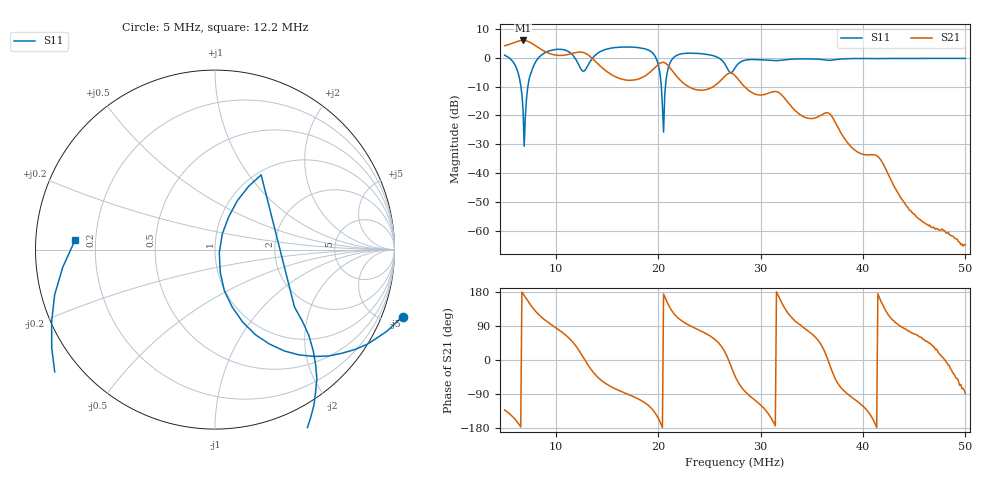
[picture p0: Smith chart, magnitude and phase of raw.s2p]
! S11/S21 only; reverse parameters are placeholders. Device calibration unverified.
! NanoVNA F V2 profile | COM3 | 2026-09-08T11:29:12.6090905-04:00 | device calibration unverified
# HZ S RI R 50
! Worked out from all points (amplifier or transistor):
!   401 points, 5 MHz to 50 MHz, reference 50 ohm
!   highest |S21| = 6.0 dB at 6.8 MHz (marker M1)
!   |S21| within 3 dB of that: start of sweep to 8.527 MHz
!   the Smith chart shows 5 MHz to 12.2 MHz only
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5000000  1.046 -0.373  -1.088 -1.204  0 0  0 0
6237500  0.3024 -0.5256  -1.839 -0.5429  0 0  0 0
6800000  0.0289 -0.1238  -1.991 0.1728  0 0  0 0
7250000  0.124 0.2717  -1.787 0.7412  0 0  0 0
8037500  0.5607 -0.6431  -0.9997 1.264  0 0  0 0
1.02875e7  -0.1664 -1.396  0.1964 1.083  0 0  0 0
1.175e7  -0.9099 -0.5447  0.8651 0.8407  0 0  0 0
1.25375e7  -0.425 0.4334  1.218 0.2913  0 0  0 0
1.36625e7  0.9637 0.3439  0.7903 -0.505  0 0  0 0
1.49e7  1.349 -0.3814  0.2737 -0.5261  0 0  0 0
1.88375e7  0.7173 -1.209  -0.2158 -0.4519  0 0  0 0
2.0075e7  -0.1214 -0.6614  -0.7246 -0.2991  0 0  0 0
2.0525e7  0.049 0.0162  -0.8285 0.0807  0 0  0 0
2.08625e7  0.4826 0.227  -0.6818 0.3482  0 0  0 0
2.21e7  1.134 -0.2109  -0.1242 0.3986  0 0  0 0
2.58125e7  0.7463 -0.6893  0.2445 0.2667  0 0  0 0
2.75e7  0.6488 -0.1607  0.3638 -0.3303  0 0  0 0
3.1325e7  0.7494 -0.493  -0.2539 -0.0553  0 0  0 0
3.50375e7  0.6754 -0.6805  0.033 0.0822  0 0  0 0
3.6725e7  0.5994 -0.6775  0.1053 -0.0207  0 0  0 0
4.2575e7  0.44 -0.8677  -0.00371 0.00776  0 0  0 0
5e7  0.1579 -0.9638  1.1e-05 -0.000568  0 0  0 0
